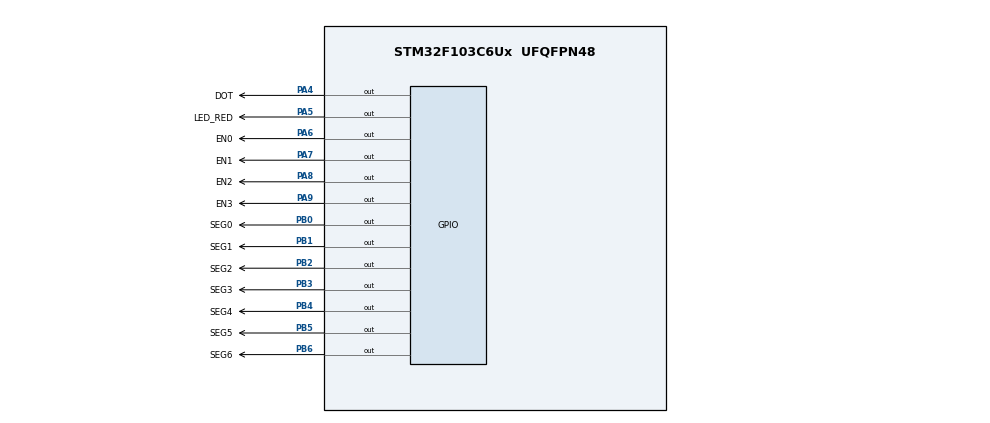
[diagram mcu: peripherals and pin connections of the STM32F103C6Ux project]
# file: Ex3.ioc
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Mcu.Family=STM32F1
Mcu.Name=STM32F103C6Ux
Mcu.Package=UFQFPN48
NVIC.PriorityGroup=NVIC_PRIORITYGROUP_4
NVIC.TIM2_IRQn=true\:0\:0\:false\:false\:true\:true\:true
PA4.GPIO_Label=DOT
PA4.Signal=GPIO_Output
PA5.GPIO_Label=LED_RED
PA5.Signal=GPIO_Output
PA6.GPIO_Label=EN0
PA6.Signal=GPIO_Output
PA7.GPIO_Label=EN1
PA7.Signal=GPIO_Output
PA8.GPIO_Label=EN2
PA8.Signal=GPIO_Output
PA9.GPIO_Label=EN3
PA9.Signal=GPIO_Output
PB0.GPIO_Label=SEG0
PB0.Signal=GPIO_Output
PB1.GPIO_Label=SEG1
PB1.Signal=GPIO_Output
PB2.GPIO_Label=SEG2
PB2.Signal=GPIO_Output
PB3.GPIO_Label=SEG3
PB3.Signal=GPIO_Output
PB4.GPIO_Label=SEG4
PB4.Signal=GPIO_Output
PB5.GPIO_Label=SEG5
PB5.Signal=GPIO_Output
PB6.GPIO_Label=SEG6
PB6.Signal=GPIO_Output
ProjectManager.HeapSize=0x200
ProjectManager.StackSize=0x400
ProjectManager.TargetToolchain=STM32CubeIDE
RCC.APB1Freq_Value=8000000
RCC.APB2Freq_Value=8000000
TIM2.Period=9
TIM2.Prescaler=7999
VP_SYS_VS_ND.Mode=No_Debug
VP_TIM2_VS_ClockSourceINT.Mode=Internal
board=custom

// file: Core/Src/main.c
/* USER CODE BEGIN Header */
/**
  ******************************************************************************
  * @file           : main.c
  * @brief          : Main program body
  ******************************************************************************
  * @attention
  *
  * <h2><center>&copy; Copyright (c) 2022 STMicroelectronics.
  * All rights reserved.</center></h2>
  *
  * This software component is licensed by ST under BSD 3-Clause license,
  * the "License"; You may not use this file except in compliance with the
  * License. You may obtain a copy of the License at:
  *                        opensource.org/licenses/BSD-3-Clause
  *
  ******************************************************************************
  */
/* USER CODE END Header */
#include "main.h"

/* USER CODE BEGIN Includes */
#include "HARDWARECONTROL.h"
#include "LED.h"
/* USER CODE END Includes */

TIM_HandleTypeDef htim2;

void SystemClock_Config(void);
static void MX_GPIO_Init(void);
static void MX_TIM2_Init(void);

int main(void)
{

  /* MCU Configuration--------------------------------------------------------*/

  /* Reset of all peripherals, Initializes the Flash interface and the Systick. */
  HAL_Init();

  /* Configure the system clock */
  SystemClock_Config();

  /* Initialize all configured peripherals */
  MX_GPIO_Init();
  MX_TIM2_Init();
  /* USER CODE BEGIN 2 */
  HAL_TIM_Base_Start_IT(&htim2);
  initGPIO();
  /* USER CODE END 2 */

  /* Infinite loop */
  while (1)
  {

  }
}

void SystemClock_Config(void)
{
  RCC_OscInitTypeDef RCC_OscInitStruct = {0};
  RCC_ClkInitTypeDef RCC_ClkInitStruct = {0};

  /** Initializes the RCC Oscillators according to the specified parameters
  * in the RCC_OscInitTypeDef structure.
  */
  RCC_OscInitStruct.OscillatorType = RCC_OSCILLATORTYPE_HSI;
  RCC_OscInitStruct.HSIState = RCC_HSI_ON;
  RCC_OscInitStruct.HSICalibrationValue = RCC_HSICALIBRATION_DEFAULT;
  RCC_OscInitStruct.PLL.PLLState = RCC_PLL_NONE;
  if (HAL_RCC_OscConfig(&RCC_OscInitStruct) != HAL_OK)
  {
    Error_Handler();
  }
  /** Initializes the CPU, AHB and APB buses clocks
  */
  RCC_ClkInitStruct.ClockType = RCC_CLOCKTYPE_HCLK|RCC_CLOCKTYPE_SYSCLK
                              |RCC_CLOCKTYPE_PCLK1|RCC_CLOCKTYPE_PCLK2;
  RCC_ClkInitStruct.SYSCLKSource = RCC_SYSCLKSOURCE_HSI;
  RCC_ClkInitStruct.AHBCLKDivider = RCC_SYSCLK_DIV1;
  RCC_ClkInitStruct.APB1CLKDivider = RCC_HCLK_DIV1;
  RCC_ClkInitStruct.APB2CLKDivider = RCC_HCLK_DIV1;

  if (HAL_RCC_ClockConfig(&RCC_ClkInitStruct, FLASH_LATENCY_0) != HAL_OK)
  {
    Error_Handler();
  }
}

static void MX_TIM2_Init(void)
{

  TIM_ClockConfigTypeDef sClockSourceConfig = {0};
  TIM_MasterConfigTypeDef sMasterConfig = {0};

  htim2.Instance = TIM2;
  htim2.Init.Prescaler = 7999;
  htim2.Init.CounterMode = TIM_COUNTERMODE_UP;
  htim2.Init.Period = 9;
  htim2.Init.ClockDivision = TIM_CLOCKDIVISION_DIV1;
  htim2.Init.AutoReloadPreload = TIM_AUTORELOAD_PRELOAD_DISABLE;
  if (HAL_TIM_Base_Init(&htim2) != HAL_OK)
  {
    Error_Handler();
  }
  sClockSourceConfig.ClockSource = TIM_CLOCKSOURCE_INTERNAL;
  if (HAL_TIM_ConfigClockSource(&htim2, &sClockSourceConfig) != HAL_OK)
  {
    Error_Handler();
  }
  sMasterConfig.MasterOutputTrigger = TIM_TRGO_RESET;
  sMasterConfig.MasterSlaveMode = TIM_MASTERSLAVEMODE_DISABLE;
  if (HAL_TIMEx_MasterConfigSynchronization(&htim2, &sMasterConfig) != HAL_OK)
  {
    Error_Handler();
  }

}

static void MX_GPIO_Init(void)
{
  GPIO_InitTypeDef GPIO_InitStruct = {0};

  /* GPIO Ports Clock Enable */
  __HAL_RCC_GPIOA_CLK_ENABLE();
  __HAL_RCC_GPIOB_CLK_ENABLE();

  /*Configure GPIO pin Output Level */
  HAL_GPIO_WritePin(GPIOA, DOT_Pin|LED_RED_Pin|EN0_Pin|EN1_Pin
                          |EN2_Pin|EN3_Pin, GPIO_PIN_RESET);

  /*Configure GPIO pin Output Level */
  HAL_GPIO_WritePin(GPIOB, SEG0_Pin|SEG1_Pin|SEG2_Pin|SEG3_Pin
                          |SEG4_Pin|SEG5_Pin|SEG6_Pin, GPIO_PIN_RESET);

  /*Configure GPIO pins : DOT_Pin LED_RED_Pin EN0_Pin EN1_Pin
                           EN2_Pin EN3_Pin */
  GPIO_InitStruct.Pin = DOT_Pin|LED_RED_Pin|EN0_Pin|EN1_Pin
                          |EN2_Pin|EN3_Pin;
  GPIO_InitStruct.Mode = GPIO_MODE_OUTPUT_PP;
  GPIO_InitStruct.Pull = GPIO_NOPULL;
  GPIO_InitStruct.Speed = GPIO_SPEED_FREQ_LOW;
  HAL_GPIO_Init(GPIOA, &GPIO_InitStruct);

  /*Configure GPIO pins : SEG0_Pin SEG1_Pin SEG2_Pin SEG3_Pin
                           SEG4_Pin SEG5_Pin SEG6_Pin */
  GPIO_InitStruct.Pin = SEG0_Pin|SEG1_Pin|SEG2_Pin|SEG3_Pin
                          |SEG4_Pin|SEG5_Pin|SEG6_Pin;
  GPIO_InitStruct.Mode = GPIO_MODE_OUTPUT_PP;
  GPIO_InitStruct.Pull = GPIO_NOPULL;
  GPIO_InitStruct.Speed = GPIO_SPEED_FREQ_LOW;
  HAL_GPIO_Init(GPIOB, &GPIO_InitStruct);

}

/* USER CODE BEGIN 4 */
int counter = 50;
int led_counter = 100;
void HAL_TIM_PeriodElapsedCallback(TIM_HandleTypeDef *htim){
  if(counter > 0)
  {
    counter--;
    if(counter <= 0)
    {
    	update7SEG(index_led);
    	index_led++;
    	if(index_led > 3) index_led = 0;
    	counter = 50;
    }
  }
  if(led_counter > 0)
  {
    led_counter--;
    if(led_counter <= 0)
    {
      led_counter = 100;
      blinkLED();
    }
  }
}
/* USER CODE END 4 */

void Error_Handler(void)
{
  __disable_irq();
  while (1)
  {
  }
}

/************************ (C) COPYRIGHT STMicroelectronics *****END OF FILE****/
